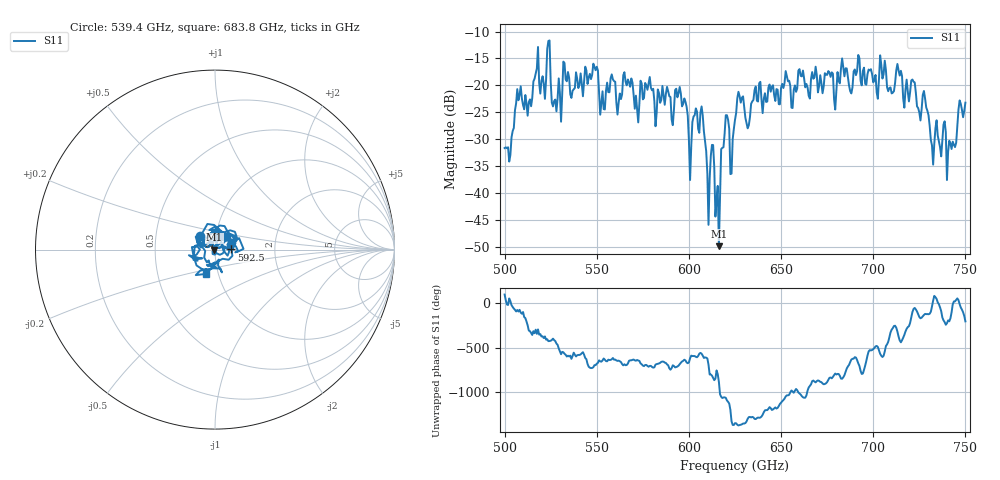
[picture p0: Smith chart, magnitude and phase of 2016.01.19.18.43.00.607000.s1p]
!Created with skrf (http://scikit-rf.org).
# GHz S RI R 50.0
!freq ReS11 ImS11
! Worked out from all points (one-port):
!   401 points, 500 GHz to 750 GHz, reference 50 ohm
!   lowest |S11| = -49.9 dB at 616.2 GHz (marker M1), VSWR 1.01, Z = 49.7 - j0.104 ohm
!   |S11| at or under -10 dB: start of sweep to end of sweep
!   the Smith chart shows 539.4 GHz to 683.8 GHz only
!   S11 on the Smith chart (normalised r, x): 539.4 GHz: 0.84, +0.13; 592.5 GHz: 1.20, +0.00; 683.8 GHz: 0.87, -0.24
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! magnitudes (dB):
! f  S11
! 500 GHz  -31.7
! 516.9 GHz  -17.8
! 520.6 GHz  -18.3
! 523.8 GHz  -11.8
! 526.9 GHz  -22.9
! 531.2 GHz  -21.7
! 539.4 GHz  -18.8
! 549.4 GHz  -17.2
! 553.1 GHz  -21.1
! 558.8 GHz  -18.9
! 562.5 GHz  -21.5
! 592.5 GHz  -20.9
! 593.8 GHz  -22.2
! 600.6 GHz  -37.6
! 607.5 GHz  -25.6
! 610 GHz  -36.4
! 612.5 GHz  -31.1
! 616.2 GHz  -49.9
! 620 GHz  -25.6
! 623.1 GHz  -36.4
! 625 GHz  -26.4
! 656.2 GHz  -24.2
! 683.8 GHz  -16.7
! 687.5 GHz  -21.1
! 705 GHz  -18.8
! 718.8 GHz  -21.2
! 741.2 GHz  -30.3
! 750 GHz  -23.2
